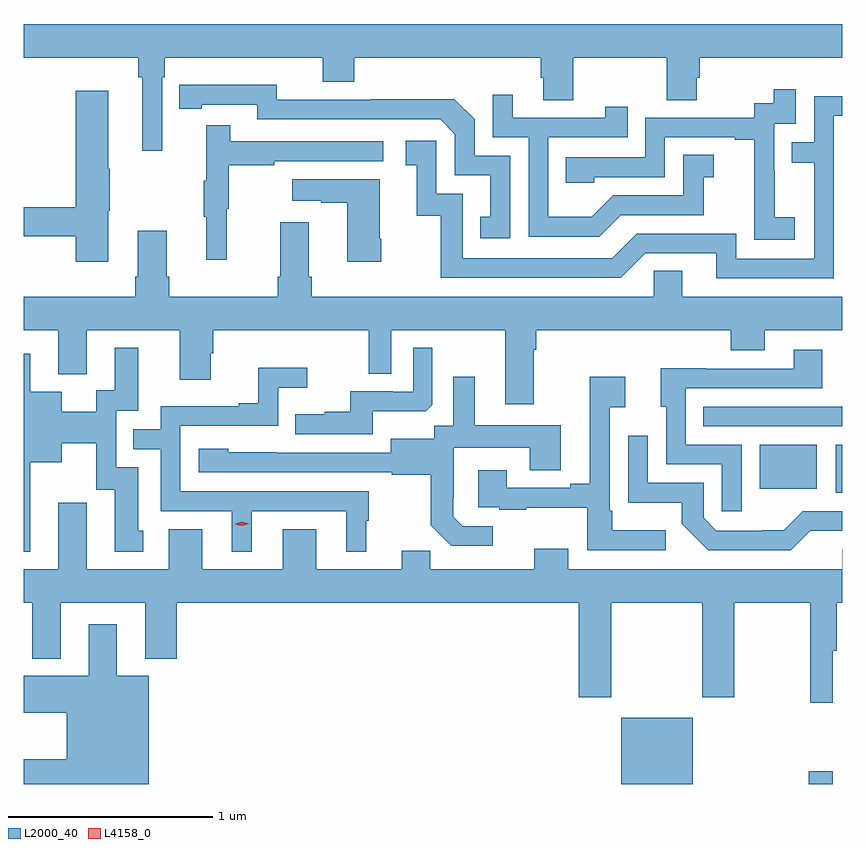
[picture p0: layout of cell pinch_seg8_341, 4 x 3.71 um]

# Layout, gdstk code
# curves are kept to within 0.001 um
import gdstk
lib = gdstk.Library(unit=1e-6, precision=1e-09)
def R(c, l, rs):  # rectangles x0, y0, x1, y1
    for r in rs: c.add(gdstk.rectangle(r[:2], r[2:], *l))
def P(c, l, *ps):  # polygons
    for p in ps: c.add(gdstk.Polygon(p, *l))
L2000_40 = (2000, 40)
L4158_0 = (4158, 0)

pinch_seg8_341 = lib.new_cell('pinch_seg8_341')
R(pinch_seg8_341, L2000_40, [(434.636,1142.254,434.986,1142.578), (435.553,1142.254,435.67,1142.317), (435.686,1143.677,435.717,1143.913), (435.314,1143.698,435.592,1143.913)])
P(pinch_seg8_341, L2000_40, [(432.393,1145.708),(432.407,1145.708),(432.407,1145.804),(433.178,1145.804),(433.178,1145.687),(433.331,1145.687),(433.331,1145.804),(434.243,1145.804),(434.243,1145.706),(434.255,1145.706),(434.255,1145.596),(434.403,1145.596),(434.403,1145.804),(434.86,1145.804),(434.86,1145.596),(435.007,1145.596),(435.007,1145.706),(435.02,1145.706),(435.02,1145.804),(435.717,1145.804),(435.717,1145.968),(431.717,1145.968),(431.717,1145.804),(432.277,1145.804),(432.277,1145.708),(432.296,1145.708),(432.296,1145.349),(432.393,1145.349)],
  [(434.094,1145.325),(433.92,1145.325),(433.92,1145.502),(433.822,1145.6),(433.414,1145.6),(433.414,1145.598),(432.954,1145.598),(432.954,1145.671),(432.478,1145.67),(432.478,1145.554),(432.586,1145.554),(432.586,1145.574),(432.858,1145.574),(432.858,1145.502),(433.752,1145.502),(433.824,1145.43),(433.824,1145.229),(433.997,1145.229),(433.997,1145.025),(433.948,1145.025),(433.948,1144.92),(434.094,1144.92)],
  [(435.484,1145.023),(435.386,1145.023),(435.386,1145.252),(435.384,1145.252),(435.384,1145.481),(435.489,1145.481),(435.489,1145.65),(435.381,1145.65),(435.381,1145.58),(435.288,1145.58),(435.288,1145.511),(434.754,1145.511),(434.754,1145.316),(434.365,1145.316),(434.365,1145.193),(434.505,1145.193),(434.505,1145.22),(434.85,1145.22),(434.85,1145.415),(435.191,1145.415),(435.191,1145.403),(435.287,1145.403),(435.287,1145.119),(435.286,1145.119),(435.286,1144.913),(435.484,1144.913)],
  [(432.13,1145.055),(432.138,1145.055),(432.138,1145.261),(432.13,1145.261),(432.13,1145.641),(431.972,1145.641),(431.972,1145.072),(431.717,1145.072),(431.717,1144.93),(431.972,1144.93),(431.972,1144.806),(432.13,1144.806)],
  [(434.635,1145.034),(435.039,1145.034),(435.039,1145.219),(435.088,1145.219),(435.088,1145.329),(434.94,1145.329),(434.94,1145.13),(434.598,1145.13),(434.494,1145.026),(434.28,1145.026),(434.28,1145.415),(434.669,1145.415),(434.669,1145.563),(434.558,1145.563),(434.558,1145.511),(434.107,1145.511),(434.107,1145.623),(434.01,1145.623),(434.01,1145.415),(434.184,1145.415),(434.184,1144.929),(434.53,1144.929)],
  [(435.675,1145.52),(435.717,1145.52),(435.717,1145.616),(435.579,1145.616),(435.579,1145.391),(435.469,1145.391),(435.469,1145.29),(435.579,1145.29),(435.579,1144.821),(435.198,1144.821),(435.198,1144.944),(434.712,1144.944),(434.592,1144.824),(433.863,1144.824),(433.863,1145.139),(433.734,1145.139),(433.734,1145.398),(433.584,1145.398),(433.584,1145.277),(433.637,1145.277),(433.637,1145.031),(433.755,1145.031),(433.755,1144.728),(434.634,1144.728),(434.754,1144.848),(435.101,1144.848),(435.101,1144.725),(435.675,1144.725)],
  [(432.71,1145.064),(432.718,1145.064),(432.718,1145.278),(432.941,1145.278),(432.941,1145.298),(433.474,1145.298),(433.474,1145.394),(432.725,1145.394),(432.725,1145.473),(432.608,1145.473),(432.608,1145.201),(432.597,1145.201),(432.597,1145.027),(432.608,1145.027),(432.608,1144.815),(432.71,1144.815)],
  [(433.464,1144.918),(433.456,1144.918),(433.456,1145.209),(433.029,1145.209),(433.029,1145.105),(433.172,1145.105),(433.172,1145.095),(433.298,1145.095),(433.298,1144.806),(433.464,1144.806)],
  [(434.209,1144.376),(434.222,1144.376),(434.222,1144.472),(435.173,1144.472),(435.173,1144.373),(435.337,1144.373),(435.337,1144.472),(435.717,1144.472),(435.717,1144.636),(434.935,1144.636),(434.935,1144.763),(434.796,1144.763),(434.796,1144.636),(433.124,1144.636),(433.124,1144.732),(433.111,1144.732),(433.111,1144.999),(432.971,1144.999),(432.971,1144.732),(432.959,1144.732),(432.959,1144.636),(432.428,1144.636),(432.428,1144.732),(432.415,1144.732),(432.415,1144.957),(432.275,1144.957),(432.275,1144.732),(432.263,1144.732),(432.263,1144.636),(431.717,1144.636),(431.717,1144.472),(431.885,1144.472),(431.885,1144.256),(432.025,1144.256),(432.025,1144.472),(432.479,1144.472),(432.479,1144.23),(432.631,1144.23),(432.631,1144.359),(432.644,1144.359),(432.644,1144.472),(433.404,1144.472),(433.404,1144.258),(433.512,1144.258),(433.512,1144.472),(434.069,1144.472),(434.069,1144.11),(434.209,1144.11)],
  [(431.749,1143.827),(431.902,1143.827),(431.902,1143.92),(432.072,1143.92),(432.072,1143.693),(432.161,1143.693),(432.161,1143.39),(432.301,1143.39),(432.301,1143.492),(432.277,1143.492),(432.277,1143.801),(432.168,1143.801),(432.168,1144.077),(432.277,1144.077),(432.277,1144.387),(432.161,1144.387),(432.161,1144.178),(432.071,1144.178),(432.071,1144.072),(431.902,1144.072),(431.902,1144.171),(431.749,1144.171),(431.749,1144.357),(431.717,1144.357),(431.717,1143.389),(431.749,1143.389)],
  [(433.423,1144.076),(433.681,1144.076),(433.713,1144.107),(433.713,1144.387),(433.62,1144.387),(433.62,1144.17),(433.52,1144.17),(433.52,1144.173),(433.313,1144.173),(433.313,1144.072),(433.189,1144.072),(433.189,1144.06),(433.045,1144.06),(433.045,1143.963),(433.423,1143.963)],
  [(435.225,1143.912),(434.952,1143.912),(434.952,1144.188),(435.619,1144.188),(435.619,1144.375),(435.479,1144.375),(435.479,1144.284),(435.049,1144.284),(435.049,1144.286),(434.831,1144.286),(434.831,1144.098),(434.856,1144.098),(434.856,1143.816),(435.129,1143.816),(435.129,1143.588),(435.225,1143.588)],
  [(432.832,1143.588),(433.292,1143.588),(433.292,1143.389),(433.39,1143.389),(433.39,1143.54),(433.402,1143.54),(433.402,1143.684),(432.483,1143.684),(432.483,1144.005),(432.96,1144.005),(432.96,1144.19),(433.102,1144.19),(433.102,1144.289),(432.862,1144.289),(432.862,1144.114),(432.767,1144.114),(432.767,1144.101),(432.387,1144.101),(432.387,1143.987),(432.253,1143.987),(432.253,1143.891),(432.387,1143.891),(432.387,1143.588),(432.734,1143.588),(432.734,1143.389),(432.832,1143.389)],
  [(434.854,1143.493),(434.593,1143.493),(434.593,1143.589),(434.58,1143.589),(434.58,1144.094),(434.656,1144.094),(434.656,1144.243),(434.483,1144.243),(434.483,1143.721),(434.387,1143.721),(434.387,1143.702),(434.077,1143.702),(434.077,1143.787),(433.937,1143.787),(433.937,1143.606),(434.041,1143.606),(434.041,1143.594),(434.173,1143.594),(434.173,1143.605),(434.472,1143.605),(434.472,1143.396),(434.854,1143.396)],
  [(434.008,1143.513),(433.863,1143.513),(433.816,1143.56),(433.816,1143.655),(433.818,1143.655),(433.818,1143.896),(434.189,1143.896),(434.189,1143.787),(434.341,1143.787),(434.341,1144.006),(433.921,1144.006),(433.921,1144.243),(433.817,1144.243),(433.817,1144.004),(433.722,1144.004),(433.722,1143.94),(433.511,1143.94),(433.511,1143.873),(432.717,1143.874),(432.717,1143.892),(432.573,1143.892),(432.573,1143.777),(433.515,1143.777),(433.515,1143.765),(433.707,1143.765),(433.707,1143.519),(433.807,1143.419),(434.008,1143.419)],
  [(435.717,1144.099),(435.715,1144.099),(435.715,1144.098),(435.037,1144.098),(435.037,1144.002),(435.717,1144.002)],
  [(435.56,1143.491),(435.717,1143.491),(435.717,1143.588),(435.525,1143.588),(435.431,1143.494),(435.326,1143.494),(435.326,1143.492),(435.102,1143.492),(435.039,1143.555),(435.039,1143.726),(434.766,1143.726),(434.766,1143.955),(434.67,1143.955),(434.67,1143.629),(434.932,1143.629),(434.932,1143.527),(435.062,1143.396),(435.465,1143.396)],
  [(435.671,1142.904),(435.689,1142.904),(435.689,1143.14),(435.717,1143.14),(435.717,1143.402),(435.716,1143.402),(435.716,1143.304),(434.377,1143.304),(434.377,1143.403),(434.213,1143.403),(434.213,1143.304),(433.703,1143.304),(433.703,1143.395),(433.565,1143.395),(433.565,1143.304),(433.147,1143.304),(433.147,1143.499),(432.983,1143.499),(432.983,1143.304),(432.589,1143.304),(432.589,1143.499),(432.425,1143.499),(432.425,1143.304),(432.025,1143.304),(432.025,1143.628),(431.885,1143.628),(431.885,1143.304),(431.717,1143.304),(431.717,1143.14),(431.759,1143.14),(431.759,1142.867),(431.899,1142.867),(431.899,1143.14),(432.311,1143.14),(432.311,1142.867),(432.464,1142.867),(432.464,1143.14),(434.429,1143.14),(434.429,1142.679),(434.589,1142.679),(434.589,1143.14),(435.034,1143.14),(435.034,1142.679),(435.189,1142.679),(435.189,1143.14),(435.561,1143.14),(435.561,1142.652),(435.671,1142.652)],
  [(432.328,1142.782),(432.172,1142.782),(432.172,1143.034),(432.035,1143.034),(432.035,1142.782),(431.717,1142.782),(431.717,1142.603),(431.927,1142.603),(431.927,1142.374),(431.717,1142.374),(431.717,1142.254),(432.328,1142.254)])
P(pinch_seg8_341, L4158_0, [(432.783,1143.515),(432.747,1143.524),(432.747,1143.524),(432.747,1143.524),(432.783,1143.535),(432.818,1143.527),(432.819,1143.526),(432.818,1143.526)])

lib.write_gds('pinch_seg8_341.gds')
